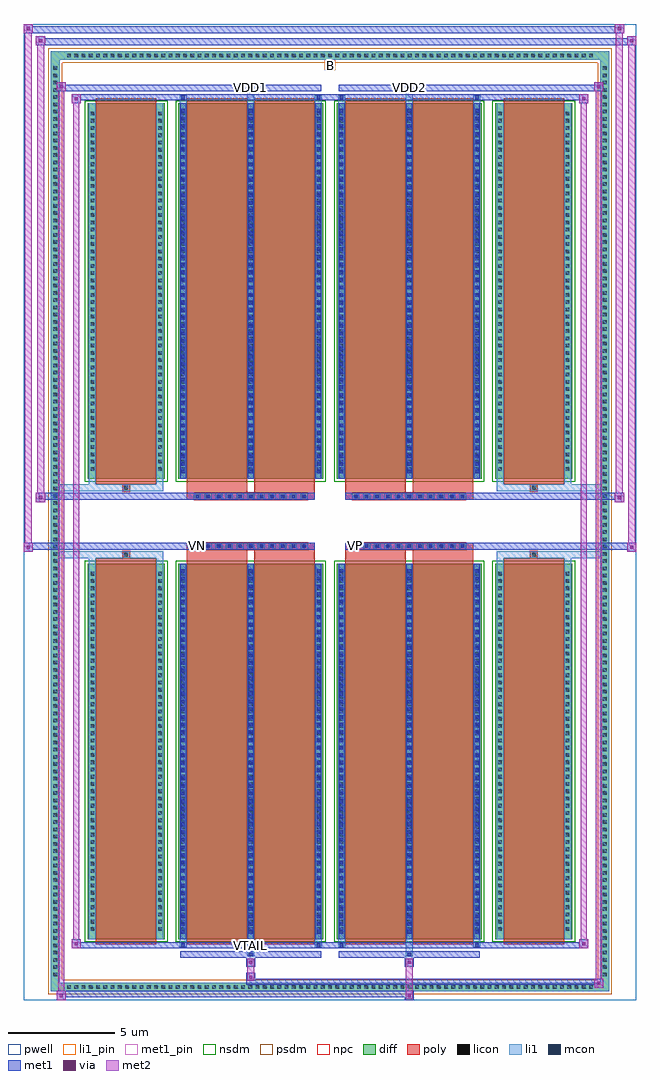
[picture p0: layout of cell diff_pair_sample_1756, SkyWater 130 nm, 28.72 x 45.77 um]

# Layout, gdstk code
import gdstk
lib = gdstk.Library(unit=1e-6, precision=5e-09)
def R(c, l, rs):  # rectangles x0, y0, x1, y1
    for r in rs: c.add(gdstk.rectangle(r[:2], r[2:], *l))
def A(c, l, x, y, w, h, nx, ny, dx, dy):  # array of equal rectangles
    R(c, l, [(x+i*dx, y+j*dy, x+i*dx+w, y+j*dy+h) for i in range(nx) for j in range(ny)])
def P(c, l, *ps):  # polygons
    for p in ps: c.add(gdstk.Polygon(p, *l))
pwell = (64, 44)
diff = (65, 20)
poly = (66, 20)
licon = (66, 44)
li1_pin = (67, 16)
li1 = (67, 20)
mcon = (67, 44)
met1_pin = (68, 16)
met1 = (68, 20)
via = (68, 44)
met2 = (69, 20)
nsdm = (93, 44)
psdm = (94, 20)
npc = (95, 20)

diff_pair_sample_1756 = lib.new_cell('diff_pair_sample_1756')
R(diff_pair_sample_1756, pwell, [(-14.36,-22.45,14.36,23.32), (-11.68,-20.64,-0.01,-0.8), (0.01,-20.64,11.68,-0.8), (-11.68,0.8,-0.01,20.64), (0.01,0.8,11.68,20.64)])
A(diff_pair_sample_1756, diff, -12.445, -22.05, 0.41, 0.41, 73, 2, 0.34, 43.69)
A(diff_pair_sample_1756, diff, -13.09, -21.455, 0.41, 0.41, 1, 126, 0, 0.34)
A(diff_pair_sample_1756, diff, 12.68, -21.455, 0.41, 0.41, 1, 126, 0, 0.34)
R(diff_pair_sample_1756, diff, [(-12.445,-22.05,12.445,-21.64), (-13.09,-21.455,-12.68,21.455), (12.68,-21.455,13.09,21.455), (-11.37,-19.595,-7.75,-1.985), (-7.11,-19.595,-0.32,-1.985), (0.32,-19.595,7.11,-1.985), (7.75,-19.595,11.37,-1.985), (-11.37,1.985,-7.75,19.595), (-7.11,1.985,-0.32,19.595), (0.32,1.985,7.11,19.595), (7.75,1.985,11.37,19.595), (-12.445,21.64,12.445,22.05)])
P(diff_pair_sample_1756, diff, [(13.09,22.05),(-13.09,22.05),(-13.09,-21.64),(-12.68,-21.64),(-12.68,21.64),(12.68,21.64),(12.68,-21.64),(-12.68,-21.64),(-13.09,-21.64),(-13.09,-22.05),(13.09,-22.05)])
A(diff_pair_sample_1756, poly, -6.38, -1.33, 0.33, 0.33, 11, 2, 0.5, 2.33)
A(diff_pair_sample_1756, poly, 1.05, -1.33, 0.33, 0.33, 11, 2, 0.5, 2.33)
R(diff_pair_sample_1756, poly, [(-10.98,-19.845,-8.14,-1.735), (-6.72,-19.845,-3.88,-1.735), (-3.55,-19.845,-0.71,-1.735), (0.71,-19.845,3.55,-1.735), (3.88,-19.845,6.72,-1.735), (8.14,-19.845,10.98,-1.735), (-9.725,-1.735,-9.395,-1.405), (-9.725,-1.735,-9.395,-1.405), (-6.72,-1.735,-3.88,-1.33), (-3.55,-1.735,-0.71,-1.33), (0.71,-1.735,3.55,-1.33), (3.88,-1.735,6.72,-1.33), (9.395,-1.735,9.725,-1.405), (9.395,-1.735,9.725,-1.405), (-6.72,-1.33,-0.71,-1), (0.71,-1.33,6.72,-1), (-6.72,1,-0.71,1.33), (0.71,1,6.72,1.33), (-6.72,1.33,-3.88,1.735), (-3.55,1.33,-0.71,1.735), (0.71,1.33,3.55,1.735), (3.88,1.33,6.72,1.735), (-9.725,1.405,-9.395,1.735), (-9.725,1.405,-9.395,1.735), (9.395,1.405,9.725,1.735), (9.395,1.405,9.725,1.735), (-10.98,1.735,-8.14,19.845), (-6.72,1.735,-3.88,19.845), (-3.55,1.735,-0.71,19.845), (0.71,1.735,3.55,19.845), (3.88,1.735,6.72,19.845), (8.14,1.735,10.98,19.845)])
A(diff_pair_sample_1756, licon, -12.325, -21.93, 0.17, 0.17, 73, 2, 0.34, 43.69)
A(diff_pair_sample_1756, licon, -12.97, -21.335, 0.17, 0.17, 1, 126, 0, 0.34)
A(diff_pair_sample_1756, licon, 12.8, -21.335, 0.17, 0.17, 1, 126, 0, 0.34)
A(diff_pair_sample_1756, licon, -11.23, -19.205, 0.17, 0.17, 1, 50, 0, 0.34)
A(diff_pair_sample_1756, licon, -8.06, -19.205, 0.17, 0.17, 1, 50, 0, 0.34)
A(diff_pair_sample_1756, licon, -6.97, -19.205, 0.17, 0.17, 3, 50, 3.17, 0.34)
A(diff_pair_sample_1756, licon, 0.46, -19.205, 0.17, 0.17, 3, 50, 3.17, 0.34)
A(diff_pair_sample_1756, licon, 7.89, -19.205, 0.17, 0.17, 1, 50, 0, 0.34)
A(diff_pair_sample_1756, licon, 11.06, -19.205, 0.17, 0.17, 1, 50, 0, 0.34)
A(diff_pair_sample_1756, licon, -6.3, -1.25, 0.17, 0.17, 11, 2, 0.5, 2.33)
A(diff_pair_sample_1756, licon, 1.13, -1.25, 0.17, 0.17, 11, 2, 0.5, 2.33)
A(diff_pair_sample_1756, licon, -11.23, 2.375, 0.17, 0.17, 1, 50, 0, 0.34)
A(diff_pair_sample_1756, licon, -8.06, 2.375, 0.17, 0.17, 1, 50, 0, 0.34)
A(diff_pair_sample_1756, licon, -6.97, 2.375, 0.17, 0.17, 3, 50, 3.17, 0.34)
A(diff_pair_sample_1756, licon, 0.46, 2.375, 0.17, 0.17, 3, 50, 3.17, 0.34)
A(diff_pair_sample_1756, licon, 7.89, 2.375, 0.17, 0.17, 1, 50, 0, 0.34)
A(diff_pair_sample_1756, licon, 11.06, 2.375, 0.17, 0.17, 1, 50, 0, 0.34)
R(diff_pair_sample_1756, licon, [(-9.645,-1.655,-9.475,-1.485), (9.475,-1.655,9.645,-1.485), (-9.645,1.485,-9.475,1.655), (9.475,1.485,9.645,1.655)])
R(diff_pair_sample_1756, li1_pin, [(-0.25,21.14,0.25,21.64)])
A(diff_pair_sample_1756, li1, -12.405, -22.01, 0.33, 0.33, 73, 2, 0.34, 43.69)
A(diff_pair_sample_1756, li1, -13.05, -21.415, 0.33, 0.33, 1, 126, 0, 0.34)
A(diff_pair_sample_1756, li1, 12.72, -21.415, 0.33, 0.33, 1, 126, 0, 0.34)
A(diff_pair_sample_1756, li1, -7.05, -19.595, 0.33, 17.61, 3, 2, 3.17, 21.58)
A(diff_pair_sample_1756, li1, 0.38, -19.595, 0.33, 17.61, 3, 2, 3.17, 21.58)
A(diff_pair_sample_1756, li1, -6.97, -19.335, 0.17, 0.17, 3, 48, 3.17, 0.36)
A(diff_pair_sample_1756, li1, -6.97, -19.335, 0.17, 17.09, 3, 2, 3.17, 21.58)
A(diff_pair_sample_1756, li1, 0.46, -19.335, 0.17, 0.17, 3, 48, 3.17, 0.36)
A(diff_pair_sample_1756, li1, 0.46, -19.335, 0.17, 17.09, 3, 2, 3.17, 21.58)
A(diff_pair_sample_1756, li1, -11.31, -19.285, 0.33, 0.33, 1, 50, 0, 0.34)
A(diff_pair_sample_1756, li1, -8.14, -19.285, 0.33, 0.33, 1, 50, 0, 0.34)
A(diff_pair_sample_1756, li1, -7.05, -19.285, 0.33, 0.33, 3, 50, 3.17, 0.34)
A(diff_pair_sample_1756, li1, 0.38, -19.285, 0.33, 0.33, 3, 50, 3.17, 0.34)
A(diff_pair_sample_1756, li1, 7.81, -19.285, 0.33, 0.33, 1, 50, 0, 0.34)
A(diff_pair_sample_1756, li1, 10.98, -19.285, 0.33, 0.33, 1, 50, 0, 0.34)
A(diff_pair_sample_1756, li1, -6.38, -1.33, 0.33, 0.33, 11, 2, 0.5, 2.33)
A(diff_pair_sample_1756, li1, 1.05, -1.33, 0.33, 0.33, 11, 2, 0.5, 2.33)
A(diff_pair_sample_1756, li1, -6.97, 2.245, 0.17, 0.17, 3, 48, 3.17, 0.36)
A(diff_pair_sample_1756, li1, 0.46, 2.245, 0.17, 0.17, 3, 48, 3.17, 0.36)
A(diff_pair_sample_1756, li1, -11.31, 2.295, 0.33, 0.33, 1, 50, 0, 0.34)
A(diff_pair_sample_1756, li1, -8.14, 2.295, 0.33, 0.33, 1, 50, 0, 0.34)
A(diff_pair_sample_1756, li1, -7.05, 2.295, 0.33, 0.33, 3, 50, 3.17, 0.34)
A(diff_pair_sample_1756, li1, 0.38, 2.295, 0.33, 0.33, 3, 50, 3.17, 0.34)
A(diff_pair_sample_1756, li1, 7.81, 2.295, 0.33, 0.33, 1, 50, 0, 0.34)
A(diff_pair_sample_1756, li1, 10.98, 2.295, 0.33, 0.33, 1, 50, 0, 0.34)
R(diff_pair_sample_1756, li1, [(-13.09,-22.05,-12.68,-21.64), (-13.09,-22.05,-12.68,-21.64), (-12.68,-22.05,12.68,-21.64), (12.68,-22.05,13.09,-21.64), (12.68,-22.05,13.09,-21.64), (-13.09,-21.64,-12.68,21.64), (12.68,-21.64,13.09,21.64), (-3.88,-20.4,-3.55,-19.595), (-3.8,-20.4,-3.63,-20.23), (3.55,-20.4,3.88,-19.595), (3.63,-20.4,3.8,-20.23), (-7.05,-19.97,-6.72,-19.595), (-6.97,-19.97,-6.8,-19.8), (-0.71,-19.97,-0.38,-19.595), (-0.63,-19.97,-0.46,-19.8), (0.38,-19.97,0.71,-19.595), (0.46,-19.97,0.63,-19.8), (6.72,-19.97,7.05,-19.595), (6.8,-19.97,6.97,-19.8), (-11.31,-19.595,-10.98,-1.985), (-8.14,-19.595,-7.81,-1.985), (7.81,-19.595,8.14,-1.985), (10.98,-19.595,11.31,-1.985), (-11.31,-1.985,-10.98,-1.405), (-8.14,-1.985,-7.81,-1.405), (7.81,-1.985,8.14,-1.405), (10.98,-1.985,11.31,-1.405), (-13.09,-1.735,-9.725,-1.405), (-11.31,-1.735,-9.725,-1.405), (-9.725,-1.735,-9.395,-1.405), (-9.395,-1.735,-7.81,-1.405), (7.81,-1.735,9.395,-1.405), (9.395,-1.735,9.725,-1.405), (9.395,-1.735,13.09,-1.405), (9.725,-1.735,11.31,-1.405), (-13.09,1.405,-9.725,1.735), (-11.31,1.405,-9.725,1.735), (-11.31,1.405,-10.98,1.985), (-9.725,1.405,-9.395,1.735), (-9.395,1.405,-7.81,1.735), (-8.14,1.405,-7.81,1.985), (7.81,1.405,9.395,1.735), (7.81,1.405,8.14,1.985), (9.395,1.405,9.725,1.735), (9.395,1.405,13.09,1.735), (9.725,1.405,11.31,1.735), (10.98,1.405,11.31,1.985), (-11.31,1.985,-10.98,19.595), (-8.14,1.985,-7.81,19.595), (7.81,1.985,8.14,19.595), (10.98,1.985,11.31,19.595), (-7.05,19.595,-6.72,19.97), (-3.88,19.595,-3.55,20.4), (-0.71,19.595,-0.38,19.97), (0.38,19.595,0.71,19.97), (3.55,19.595,3.88,20.4), (6.72,19.595,7.05,19.97), (-6.97,19.8,-6.8,19.97), (-0.63,19.8,-0.46,19.97), (0.46,19.8,0.63,19.97), (6.8,19.8,6.97,19.97), (-3.8,20.23,-3.63,20.4), (3.63,20.23,3.8,20.4), (-13.09,21.64,-12.68,22.05), (-13.09,21.64,-12.68,22.05), (-12.68,21.64,12.68,22.05), (12.68,21.64,13.09,22.05), (12.68,21.64,13.09,22.05)])
A(diff_pair_sample_1756, mcon, -6.97, -19.335, 0.17, 0.17, 3, 48, 3.17, 0.36)
A(diff_pair_sample_1756, mcon, 0.46, -19.335, 0.17, 0.17, 3, 48, 3.17, 0.36)
A(diff_pair_sample_1756, mcon, -6.3, -1.25, 0.17, 0.17, 11, 2, 0.5, 2.33)
A(diff_pair_sample_1756, mcon, 1.13, -1.25, 0.17, 0.17, 11, 2, 0.5, 2.33)
A(diff_pair_sample_1756, mcon, -6.97, 2.245, 0.17, 0.17, 3, 48, 3.17, 0.36)
A(diff_pair_sample_1756, mcon, 0.46, 2.245, 0.17, 0.17, 3, 48, 3.17, 0.36)
R(diff_pair_sample_1756, mcon, [(-3.8,-20.4,-3.63,-20.23), (3.63,-20.4,3.8,-20.23), (-6.97,-19.97,-6.8,-19.8), (-0.63,-19.97,-0.46,-19.8), (0.46,-19.97,0.63,-19.8), (6.8,-19.97,6.97,-19.8), (-6.97,19.8,-6.8,19.97), (-0.63,19.8,-0.46,19.97), (0.46,19.8,0.63,19.97), (6.8,19.8,6.97,19.97), (-3.8,20.23,-3.63,20.4), (3.63,20.23,3.8,20.4)])
R(diff_pair_sample_1756, met1_pin, [(-3.85,-20.01,-3.58,-19.74), (-6.35,-1.29,-6.08,-1.02), (1.08,-1.29,1.35,-1.02), (-3.85,20.19,-3.58,20.46), (3.58,20.19,3.85,20.46)])
A(diff_pair_sample_1756, met1, -7.03, -19.595, 0.29, 17.61, 3, 2, 3.17, 21.58)
A(diff_pair_sample_1756, met1, 0.4, -19.595, 0.29, 17.61, 3, 2, 3.17, 21.58)
A(diff_pair_sample_1756, met1, -7.03, -19.395, 0.29, 0.29, 3, 48, 3.17, 0.36)
A(diff_pair_sample_1756, met1, 0.4, -19.395, 0.29, 0.29, 3, 48, 3.17, 0.36)
A(diff_pair_sample_1756, met1, -6.36, -1.31, 0.29, 0.29, 11, 2, 0.5, 2.33)
A(diff_pair_sample_1756, met1, 1.07, -1.31, 0.29, 0.29, 11, 2, 0.5, 2.33)
A(diff_pair_sample_1756, met1, -7.03, 2.185, 0.29, 0.29, 3, 48, 3.17, 0.36)
A(diff_pair_sample_1756, met1, 0.4, 2.185, 0.29, 0.29, 3, 48, 3.17, 0.36)
R(diff_pair_sample_1756, met1, [(-12.82,-22.45,-12.39,-22.02), (3.5,-22.45,3.93,-22.02), (-12.82,-22.31,3.93,-22.02), (12.39,-21.88,12.82,-21.45), (-3.93,-21.74,12.82,-21.45), (-3.93,-21.6,-3.5,-21.17), (-3.93,-20.89,-3.5,-20.46), (3.5,-20.89,3.93,-20.46), (-7.03,-20.46,-0.4,-20.17), (-3.86,-20.46,-3.57,-20.17), (0.4,-20.46,7.03,-20.17), (3.57,-20.46,3.86,-20.17), (-12.11,-20.03,-11.68,-19.6), (-12.11,-20.03,-7.03,-19.74), (-7.03,-20.03,-6.74,-19.74), (-7.03,-20.03,-0.4,-19.74), (-0.69,-20.03,-0.4,-19.74), (-0.4,-20.03,0.4,-19.74), (0.4,-20.03,0.69,-19.74), (0.4,-20.03,7.03,-19.74), (6.74,-20.03,7.03,-19.74), (7.03,-20.03,12.11,-19.74), (11.68,-20.03,12.11,-19.6), (-14.36,-1.43,-13.93,-1), (13.93,-1.43,14.36,-1), (-14.36,-1.33,-0.71,-1), (-6.72,-1.33,-0.71,-1), (0.71,-1.33,6.72,-1), (0.71,-1.33,14.36,-1), (-13.79,0.9,-13.36,1.33), (13.36,0.9,13.79,1.33), (-13.79,1,-6.72,1.33), (-6.72,1,-0.71,1.33), (0.71,1,6.72,1.33), (6.72,1,13.79,1.33), (-12.11,19.6,-11.68,20.03), (11.68,19.6,12.11,20.03), (-12.11,19.74,-7.03,20.03), (-7.03,19.74,-6.74,20.03), (-7.03,19.74,-0.4,20.03), (-0.69,19.74,-0.4,20.03), (-0.4,19.74,0.4,20.03), (0.4,19.74,0.69,20.03), (0.4,19.74,7.03,20.03), (6.74,19.74,7.03,20.03), (7.03,19.74,12.11,20.03), (-12.82,20.17,-12.39,20.6), (-12.82,20.17,-7.03,20.46), (-7.03,20.17,-0.4,20.46), (-3.86,20.17,-3.57,20.46), (0.4,20.17,7.03,20.46), (3.57,20.17,3.86,20.46), (7.03,20.17,12.82,20.46), (12.39,20.17,12.82,20.6), (-13.79,22.32,-13.36,22.75), (-13.79,22.32,-11.68,22.65), (-11.68,22.32,11.68,22.65), (11.68,22.32,14.36,22.65), (13.93,22.32,14.36,22.75), (-14.36,22.89,-13.93,23.32), (-14.36,22.89,-11.68,23.22), (-11.68,22.89,11.68,23.22), (11.68,22.89,13.79,23.22), (13.36,22.89,13.79,23.32)])
R(diff_pair_sample_1756, via, [(-12.68,-22.31,-12.53,-22.16), (3.64,-22.31,3.79,-22.16), (12.53,-21.74,12.68,-21.59), (-3.79,-21.46,-3.64,-21.31), (-3.79,-20.75,-3.64,-20.6), (3.64,-20.75,3.79,-20.6), (-11.97,-19.89,-11.82,-19.74), (11.82,-19.89,11.97,-19.74), (-14.22,-1.29,-14.07,-1.14), (14.07,-1.29,14.22,-1.14), (-13.65,1.04,-13.5,1.19), (13.5,1.04,13.65,1.19), (-11.97,19.74,-11.82,19.89), (11.82,19.74,11.97,19.89), (-12.68,20.31,-12.53,20.46), (12.53,20.31,12.68,20.46), (-13.65,22.46,-13.5,22.61), (14.07,22.46,14.22,22.61), (-14.22,23.03,-14.07,23.18), (13.5,23.03,13.65,23.18)])
R(diff_pair_sample_1756, met2, [(-12.82,-22.45,-12.39,-22.02), (-12.75,-22.45,-12.46,20.6), (-12.46,-22.45,-12.39,-22.02), (-12.77,-22.4,-12.44,-22.07), (3.55,-22.4,3.88,-22.07), (3.55,-22.07,3.88,-20.84), (12.39,-21.88,12.82,-21.45), (12.46,-21.88,12.75,20.6), (12.75,-21.88,12.82,-21.45), (12.44,-21.83,12.77,-21.5), (-3.88,-21.55,-3.55,-21.22), (-3.88,-21.22,-3.55,-20.84), (-3.88,-20.84,-3.55,-20.51), (3.55,-20.84,3.88,-20.51), (-12.11,-20.03,-11.68,-19.6), (-12.04,-20.03,-11.75,20.03), (-11.75,-20.03,-11.68,-19.6), (11.68,-20.03,12.11,-19.6), (11.75,-20.03,12.04,20.03), (12.04,-20.03,12.11,-19.6), (-12.06,-19.98,-11.73,-19.65), (11.73,-19.98,12.06,-19.65), (-14.36,-1.43,-13.93,-1), (-14.31,-1.43,-13.98,23.32), (-13.98,-1.43,-13.93,-1), (13.93,-1.43,14.36,-1), (13.98,-1.43,14.31,22.75), (14.31,-1.43,14.36,-1), (-14.31,-1.38,-13.98,-1.05), (13.98,-1.38,14.31,-1.05), (-13.79,0.9,-13.36,1.33), (-13.74,0.9,-13.41,22.75), (-13.41,0.9,-13.36,1.33), (13.36,0.9,13.79,1.33), (13.41,0.9,13.74,23.32), (13.74,0.9,13.79,1.33), (-13.74,0.95,-13.41,1.28), (13.41,0.95,13.74,1.28), (-12.11,19.6,-11.68,20.03), (-11.75,19.6,-11.68,20.03), (11.68,19.6,12.11,20.03), (12.04,19.6,12.11,20.03), (-12.06,19.65,-11.73,19.98), (11.73,19.65,12.06,19.98), (-12.82,20.17,-12.39,20.6), (-12.46,20.17,-12.39,20.6), (12.39,20.17,12.82,20.6), (12.75,20.17,12.82,20.6), (-12.77,20.22,-12.44,20.55), (12.44,20.22,12.77,20.55), (-13.79,22.32,-13.36,22.75), (-13.41,22.32,-13.36,22.75), (13.93,22.32,14.36,22.75), (14.31,22.32,14.36,22.75), (-13.74,22.37,-13.41,22.7), (13.98,22.37,14.31,22.7), (-14.36,22.89,-13.93,23.32), (-13.98,22.89,-13.93,23.32), (13.36,22.89,13.79,23.32), (13.74,22.89,13.79,23.32), (-14.31,22.94,-13.98,23.27), (13.41,22.94,13.74,23.27)])
R(diff_pair_sample_1756, nsdm, [(-11.5,-19.725,-7.62,-1.855), (-7.24,-19.725,-0.19,-1.855), (0.19,-19.725,7.24,-1.855), (7.62,-19.725,11.5,-1.855), (-11.5,1.855,-7.62,19.725), (-7.24,1.855,-0.19,19.725), (0.19,1.855,7.24,19.725), (7.62,1.855,11.5,19.725)])
P(diff_pair_sample_1756, psdm, [(13.22,22.18),(-13.22,22.18),(-13.22,-21.51),(-12.55,-21.51),(-12.55,21.51),(12.55,21.51),(12.55,-21.51),(-12.55,-21.51),(-13.22,-21.51),(-13.22,-22.18),(13.22,-22.18)])
A(diff_pair_sample_1756, npc, -6.4, -1.35, 0.37, 0.37, 11, 2, 0.5, 2.33)
A(diff_pair_sample_1756, npc, 1.03, -1.35, 0.37, 0.37, 11, 2, 0.5, 2.33)
R(diff_pair_sample_1756, npc, [(-9.745,-1.755,-9.375,-1.385), (9.375,-1.755,9.745,-1.385), (-6.4,-1.35,-5.53,-0.98), (-6.4,-1.35,-5.53,-0.98), (-5.9,-1.35,-5.03,-0.98), (-5.9,-1.35,-5.03,-0.98), (-5.4,-1.35,-4.53,-0.98), (-5.4,-1.35,-4.53,-0.98), (-4.9,-1.35,-4.03,-0.98), (-4.9,-1.35,-4.03,-0.98), (-4.4,-1.35,-3.53,-0.98), (-4.4,-1.35,-3.53,-0.98), (-3.9,-1.35,-3.03,-0.98), (-3.9,-1.35,-3.03,-0.98), (-3.4,-1.35,-2.53,-0.98), (-3.4,-1.35,-2.53,-0.98), (-2.9,-1.35,-2.03,-0.98), (-2.9,-1.35,-2.03,-0.98), (-2.4,-1.35,-1.53,-0.98), (-2.4,-1.35,-1.53,-0.98), (-1.9,-1.35,-1.03,-0.98), (-1.9,-1.35,-1.03,-0.98), (1.03,-1.35,1.9,-0.98), (1.03,-1.35,1.9,-0.98), (1.53,-1.35,2.4,-0.98), (1.53,-1.35,2.4,-0.98), (2.03,-1.35,2.9,-0.98), (2.03,-1.35,2.9,-0.98), (2.53,-1.35,3.4,-0.98), (2.53,-1.35,3.4,-0.98), (3.03,-1.35,3.9,-0.98), (3.03,-1.35,3.9,-0.98), (3.53,-1.35,4.4,-0.98), (3.53,-1.35,4.4,-0.98), (4.03,-1.35,4.9,-0.98), (4.03,-1.35,4.9,-0.98), (4.53,-1.35,5.4,-0.98), (4.53,-1.35,5.4,-0.98), (5.03,-1.35,5.9,-0.98), (5.03,-1.35,5.9,-0.98), (5.53,-1.35,6.4,-0.98), (5.53,-1.35,6.4,-0.98), (-6.4,0.98,-5.53,1.35), (-6.4,0.98,-5.53,1.35), (-5.9,0.98,-5.03,1.35), (-5.9,0.98,-5.03,1.35), (-5.4,0.98,-4.53,1.35), (-5.4,0.98,-4.53,1.35), (-4.9,0.98,-4.03,1.35), (-4.9,0.98,-4.03,1.35), (-4.4,0.98,-3.53,1.35), (-4.4,0.98,-3.53,1.35), (-3.9,0.98,-3.03,1.35), (-3.9,0.98,-3.03,1.35), (-3.4,0.98,-2.53,1.35), (-3.4,0.98,-2.53,1.35), (-2.9,0.98,-2.03,1.35), (-2.9,0.98,-2.03,1.35), (-2.4,0.98,-1.53,1.35), (-2.4,0.98,-1.53,1.35), (-1.9,0.98,-1.03,1.35), (-1.9,0.98,-1.03,1.35), (1.03,0.98,1.9,1.35), (1.03,0.98,1.9,1.35), (1.53,0.98,2.4,1.35), (1.53,0.98,2.4,1.35), (2.03,0.98,2.9,1.35), (2.03,0.98,2.9,1.35), (2.53,0.98,3.4,1.35), (2.53,0.98,3.4,1.35), (3.03,0.98,3.9,1.35), (3.03,0.98,3.9,1.35), (3.53,0.98,4.4,1.35), (3.53,0.98,4.4,1.35), (4.03,0.98,4.9,1.35), (4.03,0.98,4.9,1.35), (4.53,0.98,5.4,1.35), (4.53,0.98,5.4,1.35), (5.03,0.98,5.9,1.35), (5.03,0.98,5.9,1.35), (5.53,0.98,6.4,1.35), (5.53,0.98,6.4,1.35), (-9.745,1.385,-9.375,1.755), (9.375,1.385,9.745,1.755)])
diff_pair_sample_1756.add(gdstk.Label('VTAIL', (-3.715,-19.875), layer=68, texttype=5))
diff_pair_sample_1756.add(gdstk.Label('VN', (-6.215,-1.155), layer=68, texttype=5))
diff_pair_sample_1756.add(gdstk.Label('VP', (1.215,-1.155), layer=68, texttype=5))
diff_pair_sample_1756.add(gdstk.Label('B', (0,21.39), layer=67, texttype=5))
diff_pair_sample_1756.add(gdstk.Label('VDD2', (3.715,20.325), layer=68, texttype=5))
diff_pair_sample_1756.add(gdstk.Label('VDD1', (-3.715,20.325), layer=68, texttype=5))

lib.write_gds('diff_pair_sample_1756.gds')
